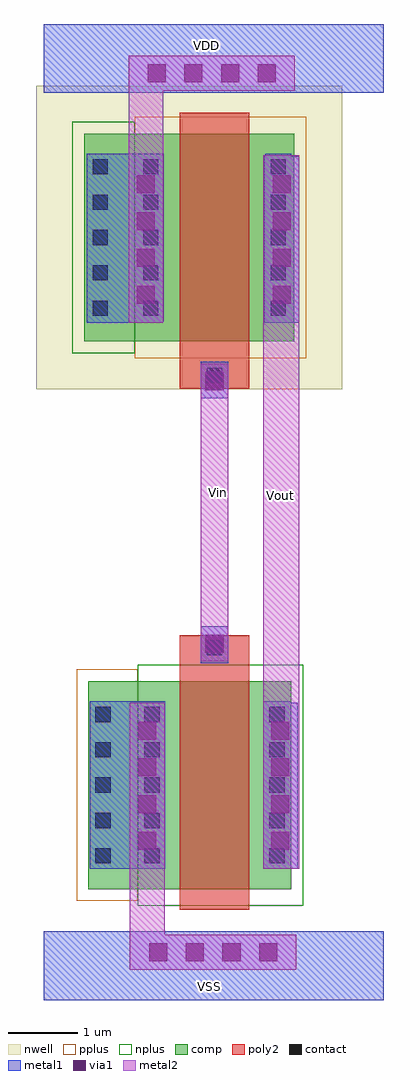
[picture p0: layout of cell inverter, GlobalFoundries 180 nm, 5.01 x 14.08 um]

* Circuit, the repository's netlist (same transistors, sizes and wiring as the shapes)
* Extracted by KLayout with GF180MCU LVS runset on : 30/08/2025 23:51

.SUBCKT inverter VSS VDD Vout Vin
M$1 Vout Vin VDD VDD pfet_03v3 L=1U W=3U AS=1.95P AD=1.95P PS=7.3U PD=7.3U
M$2 Vout Vin VSS VSS nfet_03v3 L=1U W=3U AS=1.83P AD=1.83P PS=7.22U PD=7.22U
.ENDS inverter

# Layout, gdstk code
from math import pi, radians
import gdstk
lib = gdstk.Library(unit=1e-6, precision=1e-09)
def R(c, l, rs):  # rectangles x0, y0, x1, y1
    for r in rs: c.add(gdstk.rectangle(r[:2], r[2:], *l))
def A(c, l, x, y, w, h, nx, ny, dx, dy):  # array of equal rectangles
    R(c, l, [(x+i*dx, y+j*dy, x+i*dx+w, y+j*dy+h) for i in range(nx) for j in range(ny)])
nwell = (21, 0)
comp = (22, 0)
poly2 = (30, 0)
pplus = (31, 0)
nplus = (32, 0)
contact = (33, 0)
metal1 = (34, 0)
via1 = (35, 0)
metal2 = (36, 0)

pfet = lib.new_cell('pfet')

nfet_1 = lib.new_cell('nfet$1')
R(nfet_1, comp, [(-0.42,0,0,3), (0,0,1.38,3), (1.38,0,1.8,3), (1.8,0,2.51,3)])
R(nfet_1, poly2, [(0.19,-0.3,1.19,3.3), (0.19,3.3,1.19,3.66)])
R(nfet_1, pplus, [(1.8,-0.17,2.68,3.17)])
R(nfet_1, nplus, [(-0.59,-0.24,1.8,3.24)])
A(nfet_1, contact, -0.32, 0.37, 0.22, 0.22, 1, 5, 0, 0.51)
A(nfet_1, contact, 1.48, 0.37, 0.22, 0.22, 1, 5, 0, 0.51)
A(nfet_1, contact, 2.19, 0.37, 0.22, 0.22, 1, 5, 0, 0.51)
R(nfet_1, contact, [(0.58,3.37,0.8,3.59)])
R(nfet_1, metal1, [(-0.4,0.29,-0.02,2.71), (1.4,0.29,1.78,2.71), (2.11,0.29,2.49,2.71), (0.5,3.289,0.88,3.671)])

pfet_3 = lib.new_cell('pfet$3')
R(pfet_3, nwell, [(-1.15,-0.69,3.26,3.69)])
R(pfet_3, comp, [(-0.46,0,0,3), (0,0,1.38,3), (1.38,0,1.84,3), (1.84,0,2.57,3)])
R(pfet_3, poly2, [(0.19,-0.3,1.19,3.3), (0.19,3.3,1.19,3.68)])
R(pfet_3, pplus, [(-0.63,-0.24,1.84,3.24)])
R(pfet_3, nplus, [(1.84,-0.17,2.74,3.17)])
A(pfet_3, contact, -0.34, 0.37, 0.22, 0.22, 1, 5, 0, 0.51)
A(pfet_3, contact, 1.5, 0.37, 0.22, 0.22, 1, 5, 0, 0.51)
A(pfet_3, contact, 2.23, 0.37, 0.22, 0.22, 1, 5, 0, 0.51)
R(pfet_3, contact, [(0.58,3.38,0.8,3.6)])
R(pfet_3, metal1, [(-0.42,0.29,-0.04,2.71), (1.42,0.29,1.8,2.71), (2.15,0.29,2.53,2.71), (0.5,3.299,0.88,3.681)])

via_dev = lib.new_cell('via_dev')
R(via_dev, metal1, [(0,0,0.5,2.4)])
A(via_dev, via1, 0.12, 0.275, 0.26, 0.26, 1, 4, 0, 0.53)
R(via_dev, metal2, [(0,0,0.5,2.4)])

via_dev_2 = lib.new_cell('via_dev$2')
R(via_dev_2, metal1, [(0,0,2.4,0.5)])
A(via_dev_2, via1, 0.275, 0.12, 0.26, 0.26, 4, 1, 0.53, 0)
R(via_dev_2, metal2, [(0,0,2.4,0.5)])

via_dev_3 = lib.new_cell('via_dev$3')
R(via_dev_3, metal1, [(0,0,0.4,0.5)])
R(via_dev_3, via1, [(0.07,0.12,0.33,0.38)])
R(via_dev_3, metal2, [(0,0,0.4,0.5)])

inverter = lib.new_cell('inverter')
R(inverter, metal1, [(-1.76,-1.6,3.14,-0.61), (-0.72,0.29,-0.39,2.71), (0.5,3.26,0.9,3.29), (0.5,7.58,0.9,7.61), (-1.14,8.17,-0.41,10.61), (-1.76,11.49,3.14,12.48)])
R(inverter, metal2, [(-0.52,-0.66,-0.02,0.29), (1.4,0.29,1.92,10.59), (0.5,3.79,0.9,7.08), (-0.54,10.57,-0.04,11.52)])
inverter.add(gdstk.Reference(pfet, (-1.505,-0.125)))
inverter.add(gdstk.Reference(nfet_1, (1.39,0), rotation=pi, x_reflection=True))
inverter.add(gdstk.Reference(pfet_3, (1.39,10.9), rotation=pi))
inverter.add(gdstk.Reference(via_dev, (1.4,0.29)))
inverter.add(gdstk.Reference(via_dev, (-0.52,0.29)))
inverter.add(gdstk.Reference(via_dev, (1.42,8.17)))
inverter.add(gdstk.Reference(via_dev, (-0.54,8.17)))
inverter.add(gdstk.Reference(via_dev_2, (-0.54,11.52)))
inverter.add(gdstk.Reference(via_dev_2, (-0.52,-1.16)))
inverter.add(gdstk.Reference(via_dev_3, (0.5,7.08)))
inverter.add(gdstk.Reference(via_dev_3, (0.5,3.29)))
inverter.add(gdstk.Label('VDD', (0.585,12.175), layer=34, texttype=10))
inverter.add(gdstk.Label('VSS', (0.63,-1.405), layer=34, texttype=10))
inverter.add(gdstk.Label('Vin', (0.755,5.715), layer=36, texttype=10))
inverter.add(gdstk.Label('Vout', (1.655,5.68), layer=36, texttype=10))

lib.write_gds('inverter.gds')
